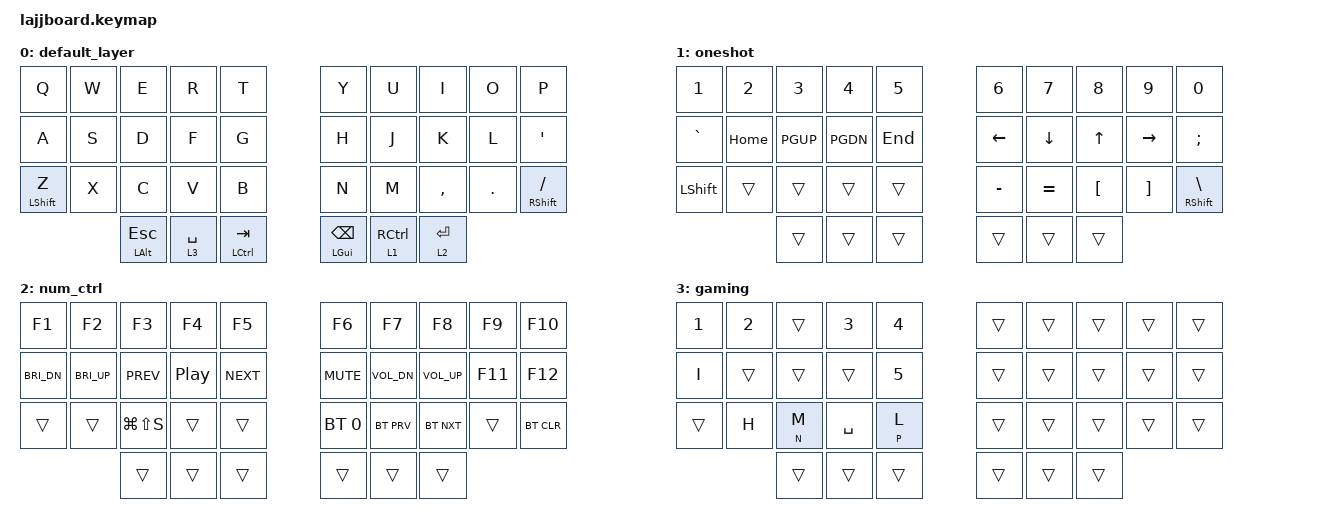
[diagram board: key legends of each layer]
/*
 * Copyright (c) 2021 The ZMK Contributors
 *
 * SPDX-License-Identifier: MIT
 */

#include <behaviors.dtsi>
#include <dt-bindings/zmk/bt.h>
#include <dt-bindings/zmk/keys.h>

&mt {
    flavor = "tap-preferred";
    tapping_term_ms = <150>;
};

/ {
	behaviors {
		hm: homerow_mods {
			compatible = "zmk,behavior-hold-tap";
			label = "HOMEROW_MODS";
			#binding-cells = <2>;
			tapping-term-ms = <200>;
			quick_tap_ms = <0>;
			flavor = "tap-preferred";
			bindings = <&kp>, <&kp>;
		};

		td: tapdance {
			compatible = "zmk,behavior-hold-tap";
			label = "TAPDANCE";
			#binding-cells = <2>;
			tapping-term-ms = <150>;
			quick_tap_ms = <0>;
			flavor = "tap-preferred";
			bindings = <&kp>, <&kp>;
		};
	};

	keymap {
		compatible = "zmk,keymap";

		default_layer {
			bindings = <
				&kp Q					&kp W					&kp E						&kp R						&kp T									&kp Y			&kp U	&kp I			&kp O		&kp P 
				&kp A 				&kp S					&kp D						&kp F						&kp G									&kp H			&kp J	&kp K			&kp L		&kp APOS
				&mt LSHIFT Z	&kp X					&kp C						&kp V						&kp B									&kp N			&kp M	&kp COMMA	&kp DOT	&mt RSHIFT SLASH
																		&mt LALT ESC		&lt 3 SPACE			&mt LCTRL TAB					&mt LGUI BSPC		&lt 1 RCTRL	&lt 2 RET
			>;
		};

		oneshot {
			bindings = <
				&kp N1			&kp N2    &kp N3    &kp N4    &kp N5				&kp N6    &kp N7   	&kp N8  	&kp N9   	&kp N0
				&kp GRAVE   &kp HOME  &kp PGUP  &kp PGDN	&kp END				&kp LEFT  &kp DOWN 	&kp UP  	&kp RIGHT	&kp SEMI
				&kp LSHIFT	&trans 		&trans		&trans    &trans				&kp MINUS &kp EQUAL	&kp LBKT	&kp RBKT  &mt RSHIFT BSLH
															&trans		&trans		&trans	      &trans		&trans    &trans
			>;
		};

		num_ctrl {
			bindings = <
				&kp F1				&kp F2       	&kp F3      	&kp F4    &kp F5    			    &kp F6   			&kp F7  			&kp F8  			&kp F9  &kp F10
				&kp C_BRI_DN	&kp C_BRI_UP	&kp C_PREV		&kp C_PP	&kp C_NEXT 			    &kp C_MUTE   	&kp C_VOL_DN	&kp C_VOL_UP	&kp F11	&kp F12
				&trans				&trans				&kp LG(LS(S)) &trans		&trans    			    &bt BT_SEL 0	&bt BT_PRV  	&bt BT_NXT  	&trans  &bt BT_CLR 
																		&trans				&trans		&trans  				    &trans      	&trans  			&trans 
			>;
		};

		gaming {
			bindings = <
				&kp N1		&kp N2    &trans	&kp N3	  &kp N4				&trans		&trans    &trans	&trans	&trans
				&kp I     &trans    &trans	&trans	  &kp N5				&trans		&trans    &trans	&trans	&trans
				&trans  	&kp H     &td N M	&kp SPACE	&td P L				&trans		&trans    &trans	&trans	&trans
														&trans	&trans	  &trans	      &trans		&trans    &trans
			>;
		};
	};
};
